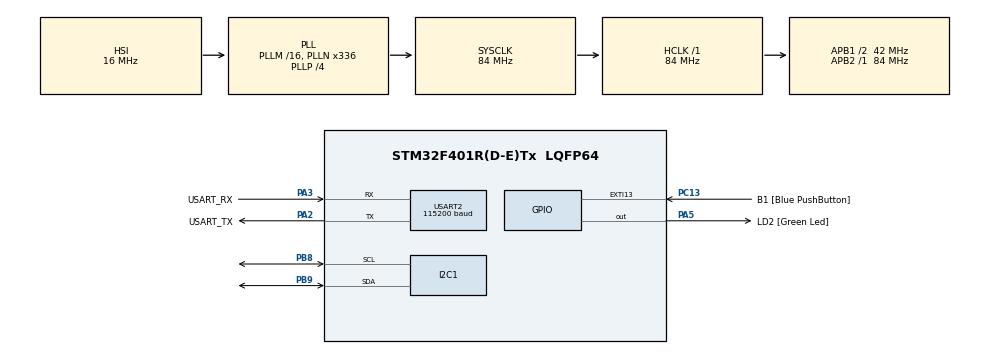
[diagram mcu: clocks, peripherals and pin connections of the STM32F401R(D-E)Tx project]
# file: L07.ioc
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Dma.I2C1_RX.2.Direction=DMA_PERIPH_TO_MEMORY
Dma.I2C1_RX.2.FIFOMode=DMA_FIFOMODE_DISABLE
Dma.I2C1_RX.2.Instance=DMA1_Stream0
Dma.I2C1_RX.2.MemDataAlignment=DMA_MDATAALIGN_BYTE
Dma.I2C1_RX.2.MemInc=DMA_MINC_ENABLE
Dma.I2C1_RX.2.Mode=DMA_NORMAL
Dma.I2C1_RX.2.PeriphDataAlignment=DMA_PDATAALIGN_BYTE
Dma.I2C1_RX.2.PeriphInc=DMA_PINC_DISABLE
Dma.I2C1_RX.2.Priority=DMA_PRIORITY_LOW
Dma.I2C1_TX.1.Direction=DMA_MEMORY_TO_PERIPH
Dma.I2C1_TX.1.FIFOMode=DMA_FIFOMODE_DISABLE
Dma.I2C1_TX.1.Instance=DMA1_Stream7
Dma.I2C1_TX.1.MemDataAlignment=DMA_MDATAALIGN_BYTE
Dma.I2C1_TX.1.MemInc=DMA_MINC_ENABLE
Dma.I2C1_TX.1.Mode=DMA_NORMAL
Dma.I2C1_TX.1.PeriphDataAlignment=DMA_PDATAALIGN_BYTE
Dma.I2C1_TX.1.PeriphInc=DMA_PINC_DISABLE
Dma.I2C1_TX.1.Priority=DMA_PRIORITY_LOW
Dma.Request0=USART2_TX
Dma.Request1=I2C1_TX
Dma.Request2=I2C1_RX
Dma.USART2_TX.0.Direction=DMA_MEMORY_TO_PERIPH
Dma.USART2_TX.0.FIFOMode=DMA_FIFOMODE_DISABLE
Dma.USART2_TX.0.Instance=DMA1_Stream6
Dma.USART2_TX.0.MemDataAlignment=DMA_MDATAALIGN_BYTE
Dma.USART2_TX.0.MemInc=DMA_MINC_ENABLE
Dma.USART2_TX.0.Mode=DMA_NORMAL
Dma.USART2_TX.0.PeriphDataAlignment=DMA_PDATAALIGN_BYTE
Dma.USART2_TX.0.PeriphInc=DMA_PINC_DISABLE
Dma.USART2_TX.0.Priority=DMA_PRIORITY_LOW
Mcu.Family=STM32F4
Mcu.Name=STM32F401R(D-E)Tx
Mcu.Package=LQFP64
NVIC.DMA1_Stream0_IRQn=true\:1\:0\:true\:false\:true\:false\:true\:true
NVIC.DMA1_Stream6_IRQn=true\:1\:0\:true\:false\:true\:false\:true\:true
NVIC.DMA1_Stream7_IRQn=true\:1\:0\:true\:false\:true\:false\:true\:true
NVIC.I2C1_ER_IRQn=true\:0\:0\:false\:false\:true\:true\:true\:true
NVIC.I2C1_EV_IRQn=true\:0\:0\:false\:false\:true\:true\:true\:true
NVIC.PriorityGroup=NVIC_PRIORITYGROUP_1
NVIC.TIM3_IRQn=true\:0\:0\:false\:false\:true\:true\:true\:true
NVIC.USART2_IRQn=true\:0\:0\:false\:false\:true\:true\:true\:true
PA13.GPIO_Label=TMS
PA13.Mode=Serial_Wire
PA13.Signal=SYS_JTMS-SWDIO
PA14.GPIO_Label=TCK
PA14.Mode=Serial_Wire
PA14.Signal=SYS_JTCK-SWCLK
PA2.GPIO_Label=USART_TX
PA2.GPIO_Mode=GPIO_MODE_AF_PP
PA2.GPIO_PuPd=GPIO_NOPULL
PA2.GPIO_Speed=GPIO_SPEED_FREQ_LOW
PA2.Mode=Asynchronous
PA2.Signal=USART2_TX
PA3.GPIO_Label=USART_RX
PA3.GPIO_Mode=GPIO_MODE_AF_PP
PA3.GPIO_PuPd=GPIO_NOPULL
PA3.GPIO_Speed=GPIO_SPEED_FREQ_LOW
PA3.Mode=Asynchronous
PA3.Signal=USART2_RX
PA5.GPIO_Label=LD2 [Green Led]
PA5.GPIO_Mode=GPIO_MODE_OUTPUT_PP
PA5.GPIO_PuPd=GPIO_NOPULL
PA5.GPIO_Speed=GPIO_SPEED_FREQ_LOW
PA5.Signal=GPIO_Output
PB3.GPIO_Label=SWO
PB3.Signal=SYS_JTDO-SWO
PB8.Mode=I2C
PB8.Signal=I2C1_SCL
PB9.Mode=I2C
PB9.Signal=I2C1_SDA
PC13-ANTI_TAMP.GPIO_Label=B1 [Blue PushButton]
PC13-ANTI_TAMP.GPIO_ModeDefaultEXTI=GPIO_MODE_IT_FALLING
PC13-ANTI_TAMP.GPIO_PuPd=GPIO_NOPULL
PC13-ANTI_TAMP.Signal=GPXTI13
PC14-OSC32_IN.Mode=LSE-External-Oscillator
PC14-OSC32_IN.Signal=RCC_OSC32_IN
PC15-OSC32_OUT.Mode=LSE-External-Oscillator
PC15-OSC32_OUT.Signal=RCC_OSC32_OUT
PH0\ -\ OSC_IN.Mode=HSE-External-Clock-Source
PH0\ -\ OSC_IN.Signal=RCC_OSC_IN
PH1\ -\ OSC_OUT.Mode=HSE-External-Clock-Source
PH1\ -\ OSC_OUT.Signal=RCC_OSC_OUT
ProjectManager.HeapSize=0x200
ProjectManager.StackSize=0x400
ProjectManager.TargetToolchain=STM32CubeIDE
RCC.48MHZClocksFreq_Value=48000000
RCC.AHBFreq_Value=84000000
RCC.APB1CLKDivider=RCC_HCLK_DIV2
RCC.APB1Freq_Value=42000000
RCC.APB1TimFreq_Value=84000000
RCC.APB2Freq_Value=84000000
RCC.APB2TimFreq_Value=84000000
RCC.CortexFreq_Value=84000000
RCC.HCLKFreq_Value=84000000
RCC.HSE_VALUE=8000000
RCC.HSI_VALUE=16000000
RCC.PLLN=336
RCC.PLLP=RCC_PLLP_DIV4
RCC.PLLQ=7
RCC.SYSCLKFreq_VALUE=84000000
RCC.SYSCLKSource=RCC_SYSCLKSOURCE_PLLCLK
RCC.VCOOutputFreq_Value=336000000
TIM3.Period=9999
TIM3.Prescaler=8399
USART2.BaudRate=115200
USART2.VirtualMode=VM_ASYNC
VP_TIM3_VS_ClockSourceINT.Mode=Internal
board=NUCLEO-F401RE

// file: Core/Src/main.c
/* USER CODE BEGIN Header */
/**
  ******************************************************************************
  * @file           : main.c
  * @brief          : Main program body
  ******************************************************************************
  * @attention
  *
  * Copyright (c) 2024 STMicroelectronics.
  * All rights reserved.
  *
  * This software is licensed under terms that can be found in the LICENSE file
  * in the root directory of this software component.
  * If no LICENSE file comes with this software, it is provided AS-IS.
  *
  ******************************************************************************
  */
/* USER CODE END Header */
#include "main.h"

/* USER CODE BEGIN Includes */
#include <stdio.h>
/* USER CODE END Includes */

I2C_HandleTypeDef hi2c1;
DMA_HandleTypeDef hdma_i2c1_tx;
DMA_HandleTypeDef hdma_i2c1_rx;

TIM_HandleTypeDef htim3;

UART_HandleTypeDef huart2;
DMA_HandleTypeDef hdma_usart2_tx;

void SystemClock_Config(void);
static void MX_GPIO_Init(void);
static void MX_DMA_Init(void);
static void MX_USART2_UART_Init(void);
static void MX_I2C1_Init(void);
static void MX_TIM3_Init(void);

/* USER CODE BEGIN 0 */
uint16_t address = 0b10010000;	// address of temperature sensor
uint8_t reg_address = 0x00;		// address of temperature register
uint8_t array[2];				// array to contain bytes acquired from the temperature register
char string[128];				// string to be transmitted through UART
int length;						// length of string
/* USER CODE END 0 */

int main(void)
{

  /* MCU Configuration--------------------------------------------------------*/

  /* Reset of all peripherals, Initializes the Flash interface and the Systick. */
  HAL_Init();

  /* Configure the system clock */
  SystemClock_Config();

  /* Initialize all configured peripherals */
  MX_GPIO_Init();
  MX_DMA_Init();
  MX_USART2_UART_Init();
  MX_I2C1_Init();
  MX_TIM3_Init();
  /* USER CODE BEGIN 2 */
  HAL_TIM_Base_Start_IT(&htim3);

  HAL_I2C_Master_Transmit_DMA(&hi2c1, address, &reg_address, 1); // write temperature register address on pointer register
  /* USER CODE END 2 */

  /* Infinite loop */
  while (1)
  {

  }
}

void SystemClock_Config(void)
{
  RCC_OscInitTypeDef RCC_OscInitStruct = {0};
  RCC_ClkInitTypeDef RCC_ClkInitStruct = {0};

  /** Configure the main internal regulator output voltage
  */
  __HAL_RCC_PWR_CLK_ENABLE();
  __HAL_PWR_VOLTAGESCALING_CONFIG(PWR_REGULATOR_VOLTAGE_SCALE2);

  /** Initializes the RCC Oscillators according to the specified parameters
  * in the RCC_OscInitTypeDef structure.
  */
  RCC_OscInitStruct.OscillatorType = RCC_OSCILLATORTYPE_HSI;
  RCC_OscInitStruct.HSIState = RCC_HSI_ON;
  RCC_OscInitStruct.HSICalibrationValue = RCC_HSICALIBRATION_DEFAULT;
  RCC_OscInitStruct.PLL.PLLState = RCC_PLL_ON;
  RCC_OscInitStruct.PLL.PLLSource = RCC_PLLSOURCE_HSI;
  RCC_OscInitStruct.PLL.PLLM = 16;
  RCC_OscInitStruct.PLL.PLLN = 336;
  RCC_OscInitStruct.PLL.PLLP = RCC_PLLP_DIV4;
  RCC_OscInitStruct.PLL.PLLQ = 7;
  if (HAL_RCC_OscConfig(&RCC_OscInitStruct) != HAL_OK)
  {
    Error_Handler();
  }

  /** Initializes the CPU, AHB and APB buses clocks
  */
  RCC_ClkInitStruct.ClockType = RCC_CLOCKTYPE_HCLK|RCC_CLOCKTYPE_SYSCLK
                              |RCC_CLOCKTYPE_PCLK1|RCC_CLOCKTYPE_PCLK2;
  RCC_ClkInitStruct.SYSCLKSource = RCC_SYSCLKSOURCE_PLLCLK;
  RCC_ClkInitStruct.AHBCLKDivider = RCC_SYSCLK_DIV1;
  RCC_ClkInitStruct.APB1CLKDivider = RCC_HCLK_DIV2;
  RCC_ClkInitStruct.APB2CLKDivider = RCC_HCLK_DIV1;

  if (HAL_RCC_ClockConfig(&RCC_ClkInitStruct, FLASH_LATENCY_2) != HAL_OK)
  {
    Error_Handler();
  }
}

static void MX_I2C1_Init(void)
{

  hi2c1.Instance = I2C1;
  hi2c1.Init.ClockSpeed = 100000;
  hi2c1.Init.DutyCycle = I2C_DUTYCYCLE_2;
  hi2c1.Init.OwnAddress1 = 0;
  hi2c1.Init.AddressingMode = I2C_ADDRESSINGMODE_7BIT;
  hi2c1.Init.DualAddressMode = I2C_DUALADDRESS_DISABLE;
  hi2c1.Init.OwnAddress2 = 0;
  hi2c1.Init.GeneralCallMode = I2C_GENERALCALL_DISABLE;
  hi2c1.Init.NoStretchMode = I2C_NOSTRETCH_DISABLE;
  if (HAL_I2C_Init(&hi2c1) != HAL_OK)
  {
    Error_Handler();
  }

}

static void MX_TIM3_Init(void)
{

  TIM_ClockConfigTypeDef sClockSourceConfig = {0};
  TIM_MasterConfigTypeDef sMasterConfig = {0};

  htim3.Instance = TIM3;
  htim3.Init.Prescaler = 8399;
  htim3.Init.CounterMode = TIM_COUNTERMODE_UP;
  htim3.Init.Period = 9999;
  htim3.Init.ClockDivision = TIM_CLOCKDIVISION_DIV1;
  htim3.Init.AutoReloadPreload = TIM_AUTORELOAD_PRELOAD_DISABLE;
  if (HAL_TIM_Base_Init(&htim3) != HAL_OK)
  {
    Error_Handler();
  }
  sClockSourceConfig.ClockSource = TIM_CLOCKSOURCE_INTERNAL;
  if (HAL_TIM_ConfigClockSource(&htim3, &sClockSourceConfig) != HAL_OK)
  {
    Error_Handler();
  }
  sMasterConfig.MasterOutputTrigger = TIM_TRGO_RESET;
  sMasterConfig.MasterSlaveMode = TIM_MASTERSLAVEMODE_DISABLE;
  if (HAL_TIMEx_MasterConfigSynchronization(&htim3, &sMasterConfig) != HAL_OK)
  {
    Error_Handler();
  }

}

static void MX_USART2_UART_Init(void)
{

  huart2.Instance = USART2;
  huart2.Init.BaudRate = 115200;
  huart2.Init.WordLength = UART_WORDLENGTH_8B;
  huart2.Init.StopBits = UART_STOPBITS_1;
  huart2.Init.Parity = UART_PARITY_NONE;
  huart2.Init.Mode = UART_MODE_TX_RX;
  huart2.Init.HwFlowCtl = UART_HWCONTROL_NONE;
  huart2.Init.OverSampling = UART_OVERSAMPLING_16;
  if (HAL_UART_Init(&huart2) != HAL_OK)
  {
    Error_Handler();
  }

}

static void MX_DMA_Init(void)
{

  /* DMA controller clock enable */
  __HAL_RCC_DMA1_CLK_ENABLE();

  /* DMA interrupt init */
  /* DMA1_Stream0_IRQn interrupt configuration */
  HAL_NVIC_SetPriority(DMA1_Stream0_IRQn, 1, 0);
  HAL_NVIC_EnableIRQ(DMA1_Stream0_IRQn);
  /* DMA1_Stream6_IRQn interrupt configuration */
  HAL_NVIC_SetPriority(DMA1_Stream6_IRQn, 1, 0);
  HAL_NVIC_EnableIRQ(DMA1_Stream6_IRQn);
  /* DMA1_Stream7_IRQn interrupt configuration */
  HAL_NVIC_SetPriority(DMA1_Stream7_IRQn, 1, 0);
  HAL_NVIC_EnableIRQ(DMA1_Stream7_IRQn);

}

static void MX_GPIO_Init(void)
{
  GPIO_InitTypeDef GPIO_InitStruct = {0};

  /* GPIO Ports Clock Enable */
  __HAL_RCC_GPIOC_CLK_ENABLE();
  __HAL_RCC_GPIOH_CLK_ENABLE();
  __HAL_RCC_GPIOA_CLK_ENABLE();
  __HAL_RCC_GPIOB_CLK_ENABLE();

  /*Configure GPIO pin Output Level */
  HAL_GPIO_WritePin(LD2_GPIO_Port, LD2_Pin, GPIO_PIN_RESET);

  /*Configure GPIO pin : B1_Pin */
  GPIO_InitStruct.Pin = B1_Pin;
  GPIO_InitStruct.Mode = GPIO_MODE_IT_FALLING;
  GPIO_InitStruct.Pull = GPIO_NOPULL;
  HAL_GPIO_Init(B1_GPIO_Port, &GPIO_InitStruct);

  /*Configure GPIO pin : LD2_Pin */
  GPIO_InitStruct.Pin = LD2_Pin;
  GPIO_InitStruct.Mode = GPIO_MODE_OUTPUT_PP;
  GPIO_InitStruct.Pull = GPIO_NOPULL;
  GPIO_InitStruct.Speed = GPIO_SPEED_FREQ_LOW;
  HAL_GPIO_Init(LD2_GPIO_Port, &GPIO_InitStruct);

}

/* USER CODE BEGIN 4 */
void HAL_TIM_PeriodElapsedCallback(TIM_HandleTypeDef *htim) {
	if (htim->Instance == TIM3) {
		HAL_I2C_Master_Receive_DMA(&hi2c1, address+1, array, 2); // address+1 -> read mode
	}
}

void HAL_I2C_MasterRxCpltCallback(I2C_HandleTypeDef *hi2c) {
	int16_t value = (array[0] << 8) | array[1];
	float temp = value/256.0;
	length = snprintf(string, sizeof(string), "Temperature: %.1fºC\n", temp);
	HAL_UART_Transmit_DMA(&huart2, string, length);
}
/* USER CODE END 4 */

void Error_Handler(void)
{
  __disable_irq();
  while (1)
  {
  }
}
